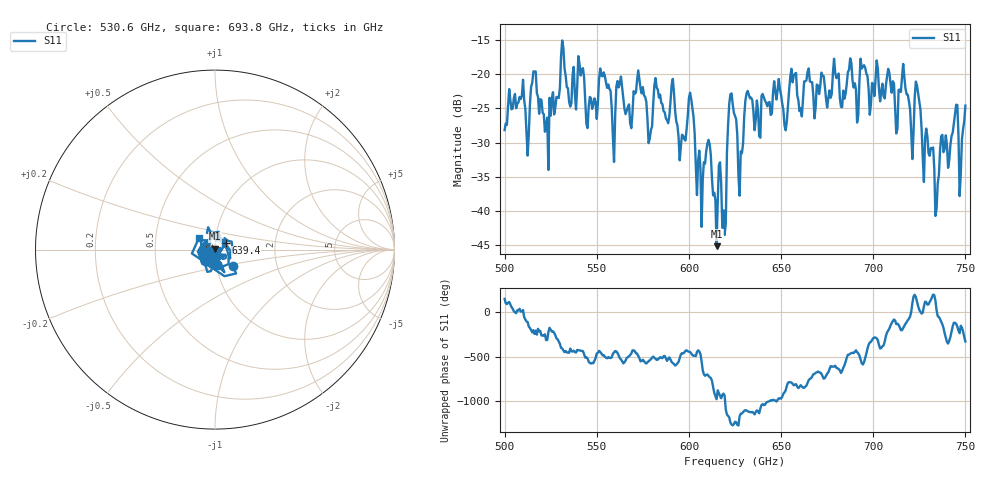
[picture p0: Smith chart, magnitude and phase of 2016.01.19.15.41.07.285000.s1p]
!Created with skrf (http://scikit-rf.org).
# GHz S RI R 50.0
!freq ReS11 ImS11
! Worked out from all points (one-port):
!   401 points, 500 GHz to 750 GHz, reference 50 ohm
!   lowest |S11| = -45.2 dB at 615 GHz (marker M1), VSWR 1.01, Z = 49.9 + j0.544 ohm
!   |S11| at or under -10 dB: start of sweep to end of sweep
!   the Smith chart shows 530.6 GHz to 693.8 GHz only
!   S11 on the Smith chart (normalised r, x): 530.6 GHz: 1.20, -0.22; 639.4 GHz: 1.12, +0.08; 693.8 GHz: 0.83, +0.11
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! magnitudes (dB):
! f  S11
! 500 GHz  -28.2
! 512.5 GHz  -31.9
! 515.6 GHz  -19.6
! 522.5 GHz  -27.4
! 530.6 GHz  -17.3
! 531.2 GHz  -15.0
! 545 GHz  -27.9
! 553.1 GHz  -20.3
! 558.8 GHz  -29.1
! 562.5 GHz  -21.3
! 593.8 GHz  -27.5
! 601.2 GHz  -23.6
! 605.6 GHz  -31.2
! 610.6 GHz  -29.6
! 615 GHz  -45.2
! 618.8 GHz  -39.9
! 621.9 GHz  -24.3
! 625 GHz  -26.1
! 628.1 GHz  -31.3
! 631.9 GHz  -22.4
! 639.4 GHz  -23.2
! 656.2 GHz  -21.2
! 687.5 GHz  -17.6
! 693.8 GHz  -19.1
! 718.8 GHz  -23.0
! 724.4 GHz  -22.9
! 734.4 GHz  -39.7
! 750 GHz  -24.6
